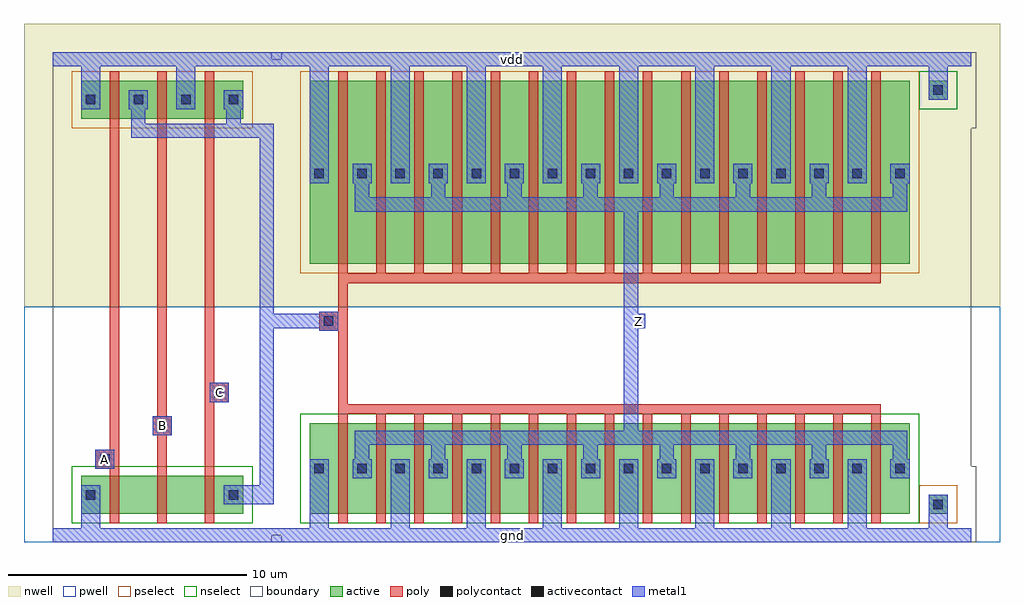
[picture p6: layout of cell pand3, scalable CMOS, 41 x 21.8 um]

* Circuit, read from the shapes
.subckt pand3 A B C Z gnd vdd
M1 pnand3_0_0/nmos_m1_w1_600_sm1_dactive_3/D A gnd gnd nfet w=1.6u l=0.4u
M2 pnand3_0_0/nmos_m1_w1_600_sactive_dactive_4/D B pnand3_0_0/nmos_m1_w1_600_sm1_dactive_3/D gnd nfet w=1.6u l=0.4u
M3 pdriver_2_1/A C pnand3_0_0/nmos_m1_w1_600_sactive_dactive_4/D gnd nfet w=1.6u l=0.4u
M4 Z pdriver_2_1/A gnd gnd nfet w=3.8u l=0.4u m=15
M5 pdriver_2_1/A A vdd vdd pfet w=1.6u l=0.4u
M6 vdd B pdriver_2_1/A vdd pfet w=1.6u l=0.4u
M7 pdriver_2_1/A C vdd vdd pfet w=1.6u l=0.4u
M8 Z pdriver_2_1/A vdd vdd pfet w=7.7u l=0.4u m=15
.ends

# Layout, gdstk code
import gdstk
lib = gdstk.Library(unit=1e-6, precision=1e-09)
def R(c, l, rs):  # rectangles x0, y0, x1, y1
    for r in rs: c.add(gdstk.rectangle(r[:2], r[2:], *l))
def A(c, l, x, y, w, h, nx, ny, dx, dy):  # array of equal rectangles
    R(c, l, [(x+i*dx, y+j*dy, x+i*dx+w, y+j*dy+h) for i in range(nx) for j in range(ny)])
pwell = (41, 0)
nwell = (42, 0)
active = (43, 0)
pselect = (44, 0)
nselect = (45, 0)
poly = (46, 0)
polycontact = (47, 0)
activecontact = (48, 0)
metal1 = (49, 0)
boundary = (63, 0)

contact_10 = lib.new_cell('contact_10')
R(contact_10, nwell, [(-1.2,-1.2,2,2)])
R(contact_10, active, [(0,0,0.8,0.8)])
R(contact_10, pselect, [(-0.4,-0.4,1.2,1.2)])
R(contact_10, activecontact, [(0.2,0.2,0.6,0.6)])
R(contact_10, metal1, [(0,0,0.8,0.8)])
R(contact_10, boundary, [(-1.2,-1.2,2,2)])

pmos_m1_w1_600_sm1_dm1 = lib.new_cell('pmos_m1_w1_600_sm1_dm1')
R(pmos_m1_w1_600_sm1_dm1, nwell, [(-1.2,-1.2,4,2.8)])
R(pmos_m1_w1_600_sm1_dm1, active, [(0,0,2.8,1.6)])
R(pmos_m1_w1_600_sm1_dm1, pselect, [(-0.4,-0.4,3.2,2)])
R(pmos_m1_w1_600_sm1_dm1, poly, [(1.2,-0.4,1.6,2), (1.2,-0.4,1.6,2)])
R(pmos_m1_w1_600_sm1_dm1, metal1, [(0,0.4,0.8,1.2), (2,0.4,2.8,1.2)])
R(pmos_m1_w1_600_sm1_dm1, boundary, [(-1.2,-1.2,4,2.8)])
pmos_m1_w1_600_sm1_dm1.add(gdstk.Reference(contact_10, (0,0.4)))
pmos_m1_w1_600_sm1_dm1.add(gdstk.Reference(contact_10, (2,0.4)))
pmos_m1_w1_600_sm1_dm1.add(gdstk.Label('G', (1.4,0.8), layer=46, texttype=0))
pmos_m1_w1_600_sm1_dm1.add(gdstk.Label('S', (0.4,0.8), layer=49, texttype=0))
pmos_m1_w1_600_sm1_dm1.add(gdstk.Label('D', (2.4,0.8), layer=49, texttype=0))

contact_9 = lib.new_cell('contact_9')
R(contact_9, pwell, [(-1.2,-1.2,2,2)])
R(contact_9, active, [(0,0,0.8,0.8)])
R(contact_9, nselect, [(-0.4,-0.4,1.2,1.2)])
R(contact_9, activecontact, [(0.2,0.2,0.6,0.6)])
R(contact_9, metal1, [(0,0,0.8,0.8)])
R(contact_9, boundary, [(-1.2,-1.2,2,2)])

nmos_m1_w1_600_sm1_dacti = lib.new_cell('nmos_m1_w1_600_sm1_dactive')
R(nmos_m1_w1_600_sm1_dacti, pwell, [(-1.2,-1.2,4,2.8)])
R(nmos_m1_w1_600_sm1_dacti, active, [(0,0,2.8,1.6), (2.1,0.5,2.7,1.1)])
R(nmos_m1_w1_600_sm1_dacti, nselect, [(-0.4,-0.4,3.2,2)])
R(nmos_m1_w1_600_sm1_dacti, poly, [(1.2,-0.4,1.6,2), (1.2,-0.4,1.6,2)])
R(nmos_m1_w1_600_sm1_dacti, metal1, [(0,0.4,0.8,1.2)])
R(nmos_m1_w1_600_sm1_dacti, boundary, [(-1.2,-1.2,4,2.8)])
nmos_m1_w1_600_sm1_dacti.add(gdstk.Reference(contact_9, (0,0.4)))
nmos_m1_w1_600_sm1_dacti.add(gdstk.Label('G', (1.4,0.8), layer=46, texttype=0))
nmos_m1_w1_600_sm1_dacti.add(gdstk.Label('S', (0.4,0.8), layer=49, texttype=0))
nmos_m1_w1_600_sm1_dacti.add(gdstk.Label('D', (2.4,0.8), layer=43, texttype=0))

nmos_m1_w1_600_sactive_d = lib.new_cell('nmos_m1_w1_600_sactive_dactive')
R(nmos_m1_w1_600_sactive_d, pwell, [(-1.2,-1.2,4,2.8)])
R(nmos_m1_w1_600_sactive_d, active, [(0,0,2.8,1.6), (0.1,0.5,0.7,1.1), (2.1,0.5,2.7,1.1)])
R(nmos_m1_w1_600_sactive_d, nselect, [(-0.4,-0.4,3.2,2)])
R(nmos_m1_w1_600_sactive_d, poly, [(1.2,-0.4,1.6,2), (1.2,-0.4,1.6,2)])
R(nmos_m1_w1_600_sactive_d, boundary, [(-1.2,-1.2,4,2.8)])
nmos_m1_w1_600_sactive_d.add(gdstk.Label('G', (1.4,0.8), layer=46, texttype=0))
nmos_m1_w1_600_sactive_d.add(gdstk.Label('S', (0.4,0.8), layer=43, texttype=0))
nmos_m1_w1_600_sactive_d.add(gdstk.Label('D', (2.4,0.8), layer=43, texttype=0))

c_nmos_m1_w1_600_sactive_d = lib.new_cell('nmos_m1_w1_600_sactive_dm1')
R(c_nmos_m1_w1_600_sactive_d, pwell, [(-1.2,-1.2,4,2.8)])
R(c_nmos_m1_w1_600_sactive_d, active, [(0,0,2.8,1.6), (0.1,0.5,0.7,1.1)])
R(c_nmos_m1_w1_600_sactive_d, nselect, [(-0.4,-0.4,3.2,2)])
R(c_nmos_m1_w1_600_sactive_d, poly, [(1.2,-0.4,1.6,2), (1.2,-0.4,1.6,2)])
R(c_nmos_m1_w1_600_sactive_d, metal1, [(2,0.4,2.8,1.2)])
R(c_nmos_m1_w1_600_sactive_d, boundary, [(-1.2,-1.2,4,2.8)])
c_nmos_m1_w1_600_sactive_d.add(gdstk.Reference(contact_9, (2,0.4)))
c_nmos_m1_w1_600_sactive_d.add(gdstk.Label('G', (1.4,0.8), layer=46, texttype=0))
c_nmos_m1_w1_600_sactive_d.add(gdstk.Label('S', (0.4,0.8), layer=43, texttype=0))
c_nmos_m1_w1_600_sactive_d.add(gdstk.Label('D', (2.4,0.8), layer=49, texttype=0))

contact_13 = lib.new_cell('contact_13')
R(contact_13, poly, [(0,0,0.8,0.8)])
R(contact_13, polycontact, [(0.2,0.2,0.6,0.6)])
R(contact_13, metal1, [(0,0,0.8,0.8)])
R(contact_13, boundary, [(0,0,0.8,0.8)])

pnand3_0 = lib.new_cell('pnand3_0')
R(pnand3_0, pwell, [(-1.2,-0.3,10.8,9.6)])
R(pnand3_0, nwell, [(-1.2,9.6,10.8,21.5)])
A(pnand3_0, poly, 2.4, 2.9, 0.4, 14.2, 3, 1, 2, 0)
R(pnand3_0, poly, [(2.2,2.8,2.4,3.6), (4.4,4.2,4.6,5), (6.4,5.6,7,6.4)])
R(pnand3_0, metal1, [(0,-0.3,9.6,0.3), (1.2,-0.3,2,1.3), (7.6,1.3,9,2.1), (8.7,1.3,9.3,17), (1.8,2.8,2.6,3.6), (4.2,4.2,5,5), (6.6,5.6,7.4,6.4), (3.3,16.7,3.9,17.3), (3.6,16.7,9,17.3), (7.3,16.7,7.9,17.3), (7.6,16.7,9,17.3), (8.7,16.7,9.3,17.3), (3.3,17,3.9,18.3), (7.3,17,7.9,18.3), (1.2,17.9,2,20.3), (5.2,17.9,6,20.3), (0,19.7,9.6,20.3)])
R(pnand3_0, boundary, [(0,0,9.6,20), (0,0,9.6,20)])
pnand3_0.add(gdstk.Reference(pmos_m1_w1_600_sm1_dm1, (1.2,17.5)))
pnand3_0.add(gdstk.Reference(pmos_m1_w1_600_sm1_dm1, (3.2,17.5)))
pnand3_0.add(gdstk.Reference(pmos_m1_w1_600_sm1_dm1, (5.2,17.5)))
pnand3_0.add(gdstk.Reference(nmos_m1_w1_600_sm1_dacti, (1.2,0.9)))
pnand3_0.add(gdstk.Reference(nmos_m1_w1_600_sactive_d, (3.2,0.9)))
pnand3_0.add(gdstk.Reference(c_nmos_m1_w1_600_sactive_d, (5.2,0.9)))
pnand3_0.add(gdstk.Reference(contact_13, (1.8,2.8)))
pnand3_0.add(gdstk.Reference(contact_13, (4.2,4.2)))
pnand3_0.add(gdstk.Reference(contact_13, (6.6,5.6)))
pnand3_0.add(gdstk.Label('A', (2.2,3.2), layer=49, texttype=0))
pnand3_0.add(gdstk.Label('B', (4.6,4.6), layer=49, texttype=0))
pnand3_0.add(gdstk.Label('C', (7,6), layer=49, texttype=0))
pnand3_0.add(gdstk.Label('Z', (9,17), layer=49, texttype=0))
pnand3_0.add(gdstk.Label('gnd', (4.8,0), layer=49, texttype=0))
pnand3_0.add(gdstk.Label('vdd', (4.8,20), layer=49, texttype=0))

pmos_m15_w7_700_sm1_dm1_ = lib.new_cell('pmos_m15_w7_700_sm1_dm1_da_p')
R(pmos_m15_w7_700_sm1_dm1_, nwell, [(-1.2,-1.2,26.4,8.9)])
R(pmos_m15_w7_700_sm1_dm1_, active, [(0,0,25.2,7.7)])
R(pmos_m15_w7_700_sm1_dm1_, pselect, [(-0.4,-0.4,25.6,8.1)])
A(pmos_m15_w7_700_sm1_dm1_, poly, 1.2, -0.4, 0.4, 8.5, 15, 1, 1.6, 0)
R(pmos_m15_w7_700_sm1_dm1_, poly, [(1.2,-0.8,24,-0.4)])
A(pmos_m15_w7_700_sm1_dm1_, metal1, 1.9, 2.6, 0.6, 1.2, 7, 1, 3.2, 0)
A(pmos_m15_w7_700_sm1_dm1_, metal1, 3.4, 3.4, 0.8, 0.8, 7, 1, 3.2, 0)
R(pmos_m15_w7_700_sm1_dm1_, metal1, [(1.9,2.2,25.1,2.8), (24.5,2.6,25.1,3.8), (0,3.4,0.8,4.2)])
R(pmos_m15_w7_700_sm1_dm1_, boundary, [(-1.2,-1.2,26.4,8.9)])
pmos_m15_w7_700_sm1_dm1_.add(gdstk.Reference(contact_10, (0,3.4)))
pmos_m15_w7_700_sm1_dm1_.add(gdstk.Reference(contact_10, (1.8,3.4)))
pmos_m15_w7_700_sm1_dm1_.add(gdstk.Reference(contact_10, (3.4,3.4)))
pmos_m15_w7_700_sm1_dm1_.add(gdstk.Reference(contact_10, (5,3.4)))
pmos_m15_w7_700_sm1_dm1_.add(gdstk.Reference(contact_10, (6.6,3.4)))
pmos_m15_w7_700_sm1_dm1_.add(gdstk.Reference(contact_10, (8.2,3.4)))
pmos_m15_w7_700_sm1_dm1_.add(gdstk.Reference(contact_10, (9.8,3.4)))
pmos_m15_w7_700_sm1_dm1_.add(gdstk.Reference(contact_10, (11.4,3.4)))
pmos_m15_w7_700_sm1_dm1_.add(gdstk.Reference(contact_10, (13,3.4)))
pmos_m15_w7_700_sm1_dm1_.add(gdstk.Reference(contact_10, (14.6,3.4)))
pmos_m15_w7_700_sm1_dm1_.add(gdstk.Reference(contact_10, (16.2,3.4)))
pmos_m15_w7_700_sm1_dm1_.add(gdstk.Reference(contact_10, (17.8,3.4)))
pmos_m15_w7_700_sm1_dm1_.add(gdstk.Reference(contact_10, (19.4,3.4)))
pmos_m15_w7_700_sm1_dm1_.add(gdstk.Reference(contact_10, (21,3.4)))
pmos_m15_w7_700_sm1_dm1_.add(gdstk.Reference(contact_10, (22.6,3.4)))
pmos_m15_w7_700_sm1_dm1_.add(gdstk.Reference(contact_10, (24.4,3.4)))
pmos_m15_w7_700_sm1_dm1_.add(gdstk.Label('G', (12.6,-0.6), layer=46, texttype=0))
pmos_m15_w7_700_sm1_dm1_.add(gdstk.Label('S', (3.8,3.8), layer=49, texttype=0))
pmos_m15_w7_700_sm1_dm1_.add(gdstk.Label('S', (19.8,3.8), layer=49, texttype=0))
pmos_m15_w7_700_sm1_dm1_.add(gdstk.Label('S', (23,3.8), layer=49, texttype=0))
pmos_m15_w7_700_sm1_dm1_.add(gdstk.Label('S', (10.2,3.8), layer=49, texttype=0))
pmos_m15_w7_700_sm1_dm1_.add(gdstk.Label('S', (13.4,3.8), layer=49, texttype=0))
pmos_m15_w7_700_sm1_dm1_.add(gdstk.Label('S', (16.6,3.8), layer=49, texttype=0))
pmos_m15_w7_700_sm1_dm1_.add(gdstk.Label('S', (7,3.8), layer=49, texttype=0))
pmos_m15_w7_700_sm1_dm1_.add(gdstk.Label('S', (0.4,3.8), layer=49, texttype=0))
pmos_m15_w7_700_sm1_dm1_.add(gdstk.Label('D', (13.5,2.5), layer=49, texttype=0))

nmos_m15_w3_800_sm1_dm1_ = lib.new_cell('nmos_m15_w3_800_sm1_dm1_da_p')
R(nmos_m15_w3_800_sm1_dm1_, pwell, [(-1.2,-1.2,26.4,5)])
R(nmos_m15_w3_800_sm1_dm1_, active, [(0,0,25.2,3.8)])
R(nmos_m15_w3_800_sm1_dm1_, nselect, [(-0.4,-0.4,25.6,4.2)])
A(nmos_m15_w3_800_sm1_dm1_, poly, 1.2, -0.4, 0.4, 4.6, 15, 1, 1.6, 0)
R(nmos_m15_w3_800_sm1_dm1_, poly, [(1.2,4.2,24,4.6)])
A(nmos_m15_w3_800_sm1_dm1_, metal1, 3.4, 1.5, 0.8, 0.8, 7, 1, 3.2, 0)
A(nmos_m15_w3_800_sm1_dm1_, metal1, 1.9, 1.9, 0.6, 1.3, 7, 1, 3.2, 0)
R(nmos_m15_w3_800_sm1_dm1_, metal1, [(0,1.5,0.8,2.3), (24.5,1.9,25.1,3.2), (1.9,2.9,25.1,3.5)])
R(nmos_m15_w3_800_sm1_dm1_, boundary, [(-1.2,-1.2,26.4,5)])
nmos_m15_w3_800_sm1_dm1_.add(gdstk.Reference(contact_9, (0,1.5)))
nmos_m15_w3_800_sm1_dm1_.add(gdstk.Reference(contact_9, (1.8,1.5)))
nmos_m15_w3_800_sm1_dm1_.add(gdstk.Reference(contact_9, (3.4,1.5)))
nmos_m15_w3_800_sm1_dm1_.add(gdstk.Reference(contact_9, (5,1.5)))
nmos_m15_w3_800_sm1_dm1_.add(gdstk.Reference(contact_9, (6.6,1.5)))
nmos_m15_w3_800_sm1_dm1_.add(gdstk.Reference(contact_9, (8.2,1.5)))
nmos_m15_w3_800_sm1_dm1_.add(gdstk.Reference(contact_9, (9.8,1.5)))
nmos_m15_w3_800_sm1_dm1_.add(gdstk.Reference(contact_9, (11.4,1.5)))
nmos_m15_w3_800_sm1_dm1_.add(gdstk.Reference(contact_9, (13,1.5)))
nmos_m15_w3_800_sm1_dm1_.add(gdstk.Reference(contact_9, (14.6,1.5)))
nmos_m15_w3_800_sm1_dm1_.add(gdstk.Reference(contact_9, (16.2,1.5)))
nmos_m15_w3_800_sm1_dm1_.add(gdstk.Reference(contact_9, (17.8,1.5)))
nmos_m15_w3_800_sm1_dm1_.add(gdstk.Reference(contact_9, (19.4,1.5)))
nmos_m15_w3_800_sm1_dm1_.add(gdstk.Reference(contact_9, (21,1.5)))
nmos_m15_w3_800_sm1_dm1_.add(gdstk.Reference(contact_9, (22.6,1.5)))
nmos_m15_w3_800_sm1_dm1_.add(gdstk.Reference(contact_9, (24.4,1.5)))
nmos_m15_w3_800_sm1_dm1_.add(gdstk.Label('G', (12.6,4.4), layer=46, texttype=0))
nmos_m15_w3_800_sm1_dm1_.add(gdstk.Label('S', (19.8,1.9), layer=49, texttype=0))
nmos_m15_w3_800_sm1_dm1_.add(gdstk.Label('S', (23,1.9), layer=49, texttype=0))
nmos_m15_w3_800_sm1_dm1_.add(gdstk.Label('S', (3.8,1.9), layer=49, texttype=0))
nmos_m15_w3_800_sm1_dm1_.add(gdstk.Label('S', (0.4,1.9), layer=49, texttype=0))
nmos_m15_w3_800_sm1_dm1_.add(gdstk.Label('S', (10.2,1.9), layer=49, texttype=0))
nmos_m15_w3_800_sm1_dm1_.add(gdstk.Label('S', (7,1.9), layer=49, texttype=0))
nmos_m15_w3_800_sm1_dm1_.add(gdstk.Label('S', (16.6,1.9), layer=49, texttype=0))
nmos_m15_w3_800_sm1_dm1_.add(gdstk.Label('S', (13.4,1.9), layer=49, texttype=0))
nmos_m15_w3_800_sm1_dm1_.add(gdstk.Label('D', (13.5,3.2), layer=49, texttype=0))

contact_11 = lib.new_cell('contact_11')
R(contact_11, nwell, [(-1.2,-1.2,2,2)])
R(contact_11, active, [(0,0,0.8,0.8)])
R(contact_11, nselect, [(-0.4,-0.4,1.2,1.2)])
R(contact_11, activecontact, [(0.2,0.2,0.6,0.6)])
R(contact_11, metal1, [(0,0,0.8,0.8)])
R(contact_11, boundary, [(-1.2,-1.2,2,2)])

contact_12 = lib.new_cell('contact_12')
R(contact_12, pwell, [(-1.2,-1.2,2,2)])
R(contact_12, active, [(0,0,0.8,0.8)])
R(contact_12, pselect, [(-0.4,-0.4,1.2,1.2)])
R(contact_12, activecontact, [(0.2,0.2,0.6,0.6)])
R(contact_12, metal1, [(0,0,0.8,0.8)])
R(contact_12, boundary, [(-1.2,-1.2,2,2)])

pinv_17 = lib.new_cell('pinv_17')
R(pinv_17, pwell, [(-1.2,-0.3,30.2,9.6)])
R(pinv_17, nwell, [(-1.2,9.6,30.2,21.5)])
R(pinv_17, poly, [(2.4,5.5,2.8,10.6), (2,8.6,2.4,9.4)])
A(pinv_17, metal1, 4.6, -0.3, 0.8, 2.7, 7, 1, 3.2, 0)
A(pinv_17, metal1, 4.6, 14.8, 0.8, 5.5, 7, 1, 3.2, 0)
R(pinv_17, metal1, [(0,-0.3,29,0.3), (1.2,-0.3,2,2.4), (27.2,0,28,1.3), (14.4,3.8,15,14.2), (1.6,8.6,2.4,9.4), (14.7,8.7,15.3,9.3), (1.2,14.8,2,20.3), (27.2,18.7,28,20), (0,19.7,29,20.3)])
R(pinv_17, boundary, [(0,0,29,20), (0,0,29,20)])
pinv_17.add(gdstk.Reference(pmos_m15_w7_700_sm1_dm1_, (1.2,11.4)))
pinv_17.add(gdstk.Reference(nmos_m15_w3_800_sm1_dm1_, (1.2,0.9)))
pinv_17.add(gdstk.Reference(contact_11, (27.2,18.3)))
pinv_17.add(gdstk.Reference(contact_12, (27.2,0.9)))
pinv_17.add(gdstk.Reference(contact_13, (1.6,8.6)))
pinv_17.add(gdstk.Label('A', (2,9), layer=49, texttype=0))
pinv_17.add(gdstk.Label('Z', (15,9), layer=49, texttype=0))
pinv_17.add(gdstk.Label('gnd', (14.5,0), layer=49, texttype=0))
pinv_17.add(gdstk.Label('vdd', (14.5,20), layer=49, texttype=0))

pdriver_2 = lib.new_cell('pdriver_2')
R(pdriver_2, pwell, [(-1.2,-0.3,30.2,9.6)])
R(pdriver_2, nwell, [(-1.2,9.6,30.2,21.5)])
R(pdriver_2, metal1, [(0,-0.3,29,0.3), (1.6,8.6,2.4,9.4), (14.7,8.7,15.3,9.3), (0,19.7,29,20.3)])
R(pdriver_2, boundary, [(0,0,29,20), (0,0,29,20)])
pdriver_2.add(gdstk.Reference(pinv_17, (0,0)))
pdriver_2.add(gdstk.Label('Z', (15,9), layer=49, texttype=0))
pdriver_2.add(gdstk.Label('A', (2,9), layer=49, texttype=0))
pdriver_2.add(gdstk.Label('gnd', (14.5,0), layer=49, texttype=0))
pdriver_2.add(gdstk.Label('vdd', (14.5,20), layer=49, texttype=0))

pand3 = lib.new_cell('pand3')
R(pand3, metal1, [(0,-0.3,38.6,0.3), (1.8,2.8,2.6,3.6), (4.2,4.2,5,5), (6.6,5.6,7.4,6.4), (8.7,8.7,9.3,9.3), (9,8.7,11.6,9.3), (24.3,8.7,24.9,9.3), (8.7,9,9.3,17), (0,19.7,38.6,20.3)])
R(pand3, boundary, [(0,0,38.6,20), (0,0,38.6,20)])
pand3.add(gdstk.Reference(pnand3_0, (0,0)))
pand3.add(gdstk.Reference(pdriver_2, (9.6,0)))
pand3.add(gdstk.Label('Z', (24.6,9), layer=49, texttype=0))
pand3.add(gdstk.Label('A', (2.2,3.2), layer=49, texttype=0))
pand3.add(gdstk.Label('B', (4.6,4.6), layer=49, texttype=0))
pand3.add(gdstk.Label('C', (7,6), layer=49, texttype=0))
pand3.add(gdstk.Label('gnd', (19.3,0), layer=49, texttype=0))
pand3.add(gdstk.Label('vdd', (19.3,20), layer=49, texttype=0))

lib.write_gds('pand3.gds')
